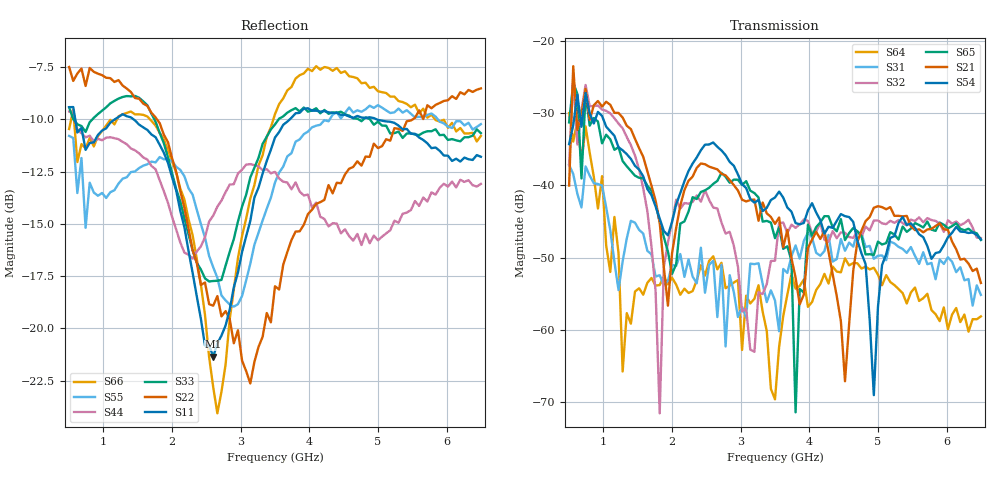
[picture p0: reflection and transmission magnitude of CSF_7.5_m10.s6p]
!Keysight Technologies,M9804A,MY58100912,A.14.10.03
!Date: Thursday, April 27, 2023 10:28:33
!Correction: S11(C  6-Port  )
!S12(C  6-Port  )
!S13(C  6-Port  )
!S14(C  6-Port  )
!S15(C  6-Port  )
!S16(C  6-Port  )
!S21(C  6-Port  )
!S22(C  6-Port  )
!S23(C  6-Port  )
!S24(C  6-Port  )
!S25(C  6-Port  )
!S26(C  6-Port  )
!S31(C  6-Port  )
!S32(C  6-Port  )
!S33(C  6-Port  )
!S34(C  6-Port  )
!S35(C  6-Port  )
!S36(C  6-Port  )
!S41(C  6-Port  )
!S42(C  6-Port  )
!S43(C  6-Port  )
!S44(C  6-Port  )
!S45(C  6-Port  )
!S46(C  6-Port  )
!S51(C  6-Port  )
!S52(C  6-Port  )
!S53(C  6-Port  )
!S54(C  6-Port  )
!S55(C  6-Port  )
!S56(C  6-Port  )
!S61(C  6-Port  )
!S62(C  6-Port  )
!S63(C  6-Port  )
!S64(C  6-Port  )
!S65(C  6-Port  )
!S66(C  6-Port  )
!S6P File: Measurement: :
# Hz S  RI  R 50
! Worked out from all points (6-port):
!   101 points, 500 MHz to 6.5 GHz, reference 50 ohm
!   strongest paths, dB at 500 MHz, 2 GHz, 3.5 GHz, 5 GHz, 6.5 GHz:
!     S54: -34.3, -45.1, -41.7, -56.9, -47.5
!     S21: -40.0, -49.4, -45.3, -42.9, -53.5
!     S65: -31.3, -52.3, -47.3, -47.8, -47.6
!     S32: -37.1, -45.1, -50.4, -44.9, -47.3
!     S31: -37.2, -51.0, -55.9, -49.7, -55.2
!     S64: -30.0, -52.8, -69.6, -52.4, -58.2
!   lowest |S11| = -21.4 dB at 2.6 GHz (marker M1), VSWR 1.19, Z = 42.4 + j2.25 ohm
!   |S11| at or under -10 dB: 589 MHz to 1.166 GHz (577.1 MHz wide, 65.8 % of centre); 1.439 GHz to 3.715 GHz (2.276 GHz wide, 88.3 % of centre); 4.981 GHz to end of sweep
